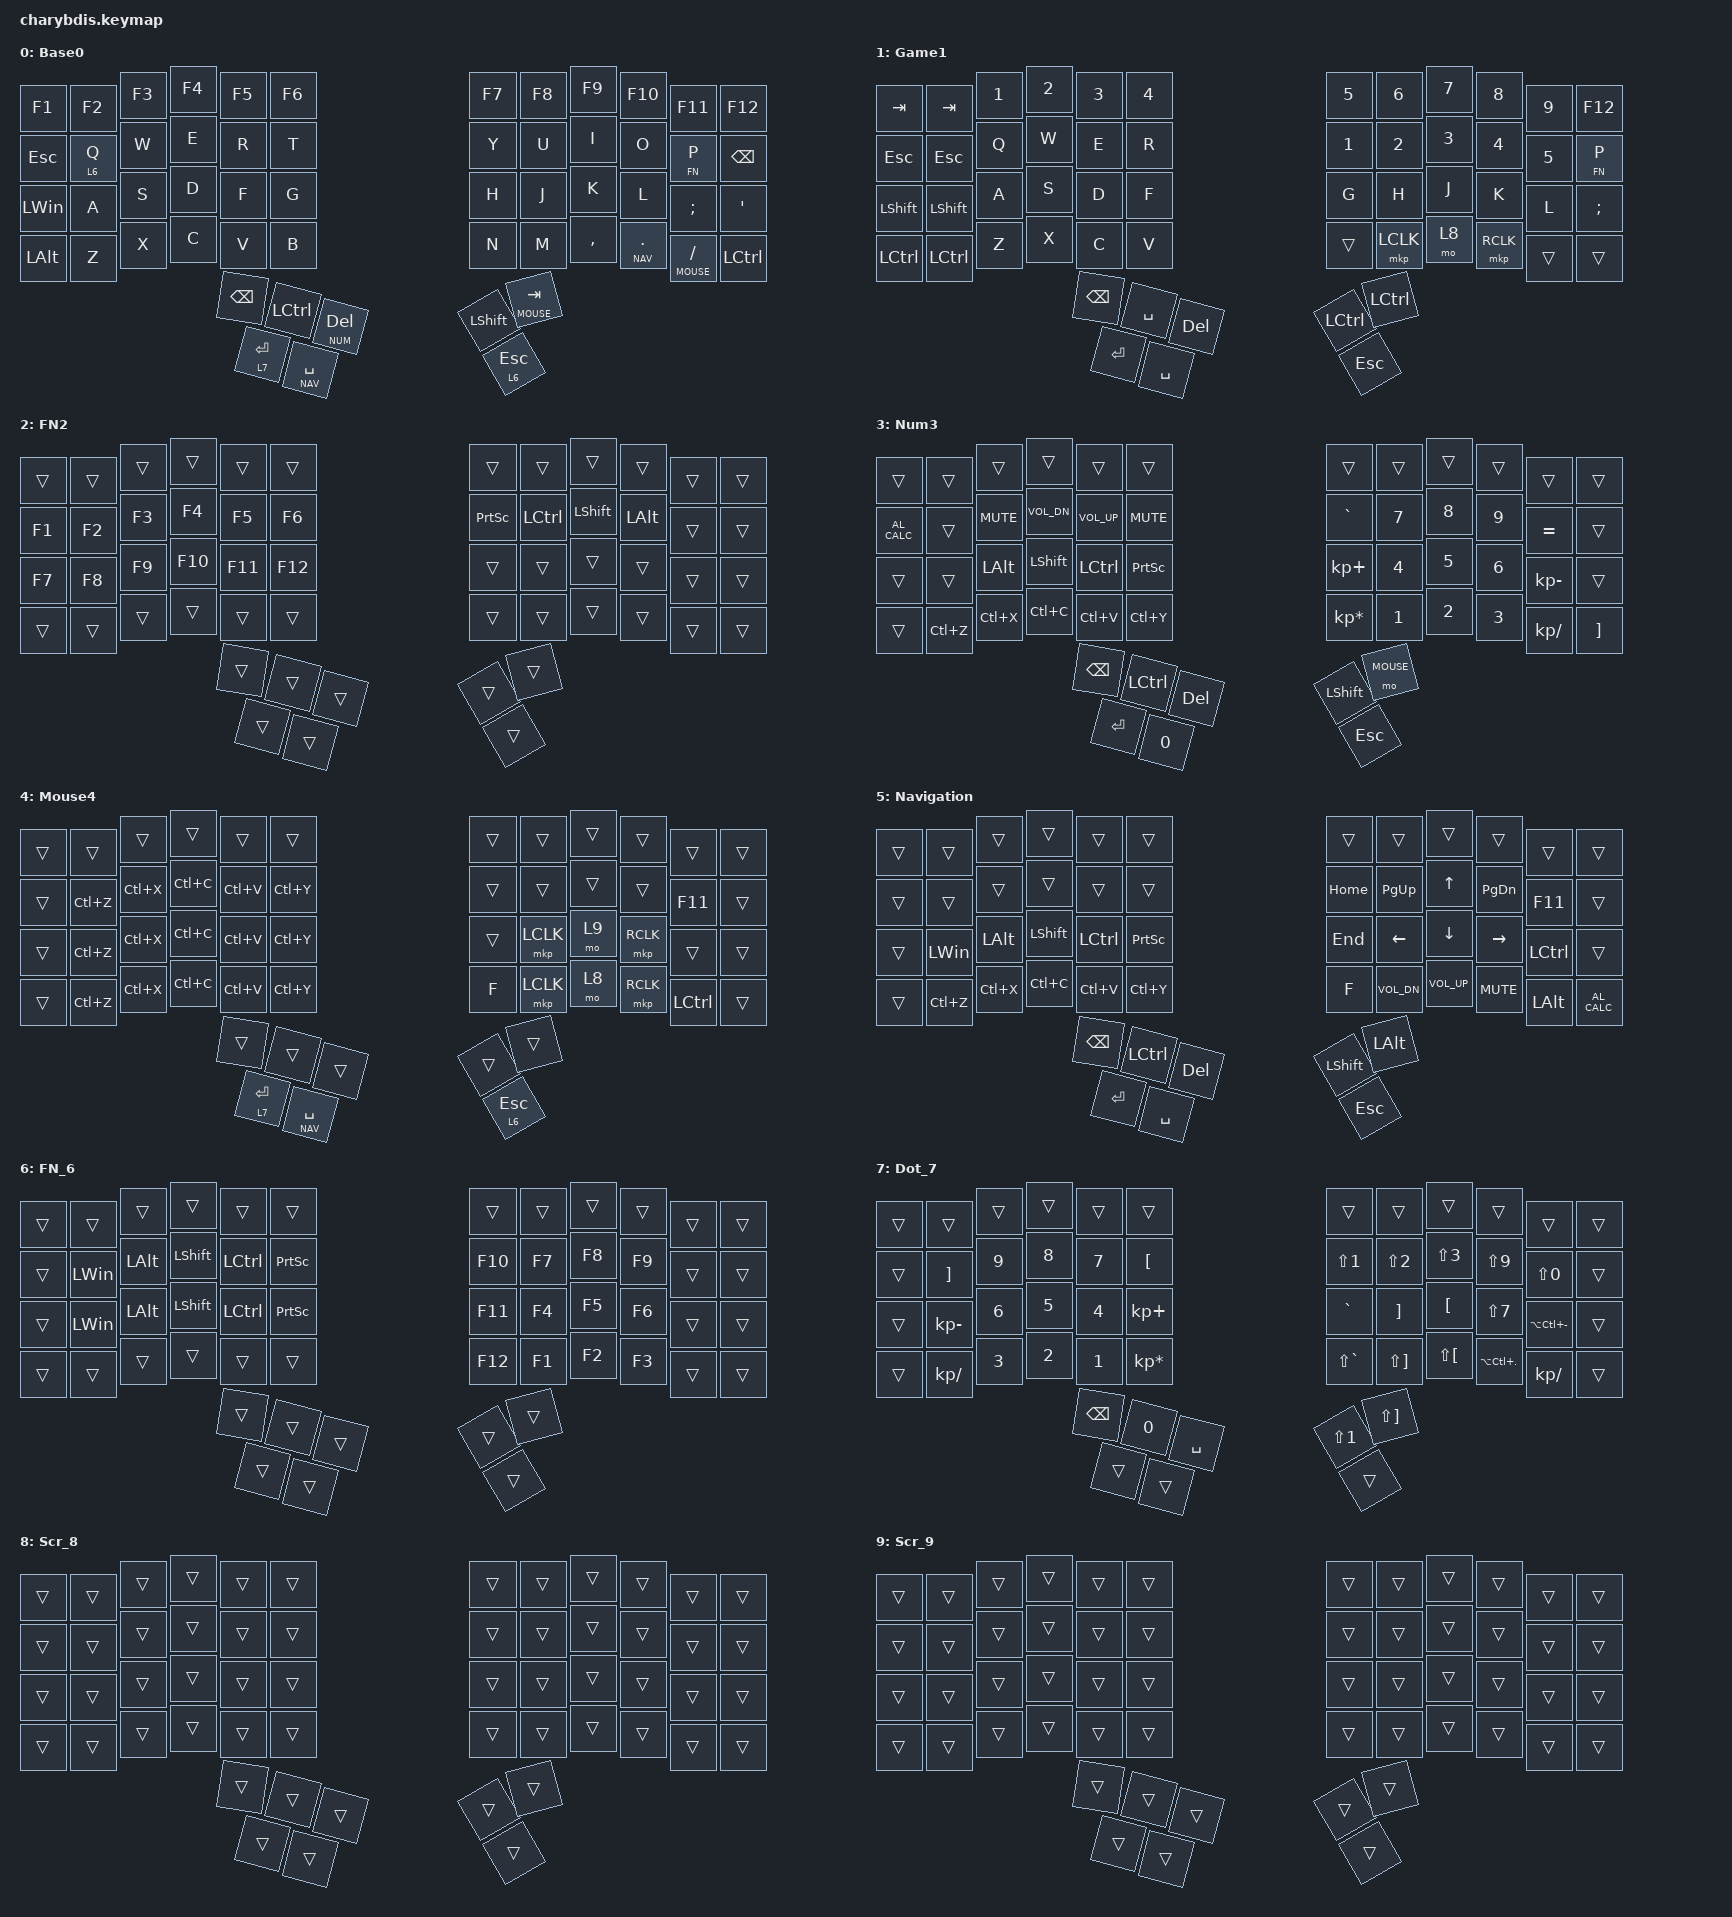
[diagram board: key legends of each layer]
#include <behaviors.dtsi> 
#include <dt-bindings/zmk/keys.h>
#include <dt-bindings/zmk/pointing.h>
 
#define GAME  1
#define FN    2
#define NUM   3
#define MOUSE 4
#define NAV   5

#define KEYS_L 0 1 2 3 4 10 11 12 13 14 20 21 22 23 24  
#define KEYS_R 5 6 7 8 9 15 16 17 18 19 25 26 27 28 29
#define THUMBS 30 31 32 33 34 35  

&sk {
  release-after-ms = <600>;
  quick-release;
};

&sl {
  ignore-modifiers;
};

&mt {
  flavor = "tap-preferred";
};

&lt {
  flavor = "balanced";
  tapping-term-ms = <200>;
  quick-tap-ms = <175>;
};

&caps_word {
  /delete-property/ ignore-modifiers;
};

/ {
  behaviors {
    hml: hml {
      compatible = "zmk,behavior-hold-tap";
      #binding-cells = <2>;
      flavor = "balanced";
      tapping-term-ms = <2000>;
      quick-tap-ms = <175>;
      require-prior-idle-ms = <250>;
      hold-trigger-key-positions = <KEYS_R THUMBS>;
      hold-trigger-on-release;
      bindings =
        <&kp>,
        <&kp>;
    };

    hmr: hmr {
      compatible = "zmk,behavior-hold-tap";
      #binding-cells = <2>;
      flavor = "balanced";
      tapping-term-ms = <2000>;
      quick-tap-ms = <175>;
      require-prior-idle-ms = <250>;
      hold-trigger-key-positions = <KEYS_L THUMBS>;
      hold-trigger-on-release;
      bindings =
        <&kp>,
        <&kp>;
    };
    hml_s: hml_s {
      compatible = "zmk,behavior-hold-tap";
      #binding-cells = <2>;
      flavor = "balanced";
      tapping-term-ms = <2000>;
      quick-tap-ms = <175>;
      require-prior-idle-ms = <0>;
      hold-trigger-key-positions = <KEYS_R THUMBS>;
      hold-trigger-on-release;
      bindings =
        <&kp>,
        <&kp>;
    };

    hmr_s: hmr_s {
      compatible = "zmk,behavior-hold-tap";
      #binding-cells = <2>;
      flavor = "balanced";
      tapping-term-ms = <2000>;
      quick-tap-ms = <175>;
      require-prior-idle-ms = <0>;
      hold-trigger-key-positions = <KEYS_L THUMBS>;
      hold-trigger-on-release;
      bindings =
        <&kp>,
        <&kp>;
    };


    smart_shift: smart_shift {
      compatible = "zmk,behavior-mod-morph";
      #binding-cells = <0>;
      bindings = <&sk LSHIFT>, <&caps_word>;
      mods = <(MOD_LSFT)>;
    };
  };

  combos {
    compatible = "zmk,combos";
    timeout-ms = <20>;
    require-prior-idle-ms = <250>;

    
    combo_esc {
      key-positions = <1 2>;
      bindings = <&kp ESCAPE>;
    };
    combo_tab {
      key-positions = <2 3>;
      bindings = <&kp TAB>;
    };
    combo_cdel {
      key-positions = <11 12>;
      bindings = <&kp LC(BACKSPACE)>;
    };
    combo_unlock {
      key-positions = <0 4>;
      bindings = <&studio_unlock>;
    };
        qote {
            bindings = <&kp GRAVE>;
            key-positions = <16 17>;
        };
        greatt {
            bindings = <&kp LC(LA(P))>;
            key-positions = <18 19>;
        };
        ParaLeft {
            bindings = <&kp LS(N9)>;
            key-positions = <40 41>;
            layers = <0>;
        };
        ParaRight {
            bindings = <&kp LS(N0)>;
            key-positions = <42 43>;
        };
        eng {
            bindings = <&kp F16>;
            key-positions = <28 29>;
            layers = <0>;
        };
        rus {
            bindings = <&kp F17>;
            key-positions = <30 31>;
        };

        bootloaderLeft {
            bindings = <&bootloader>;
            key-positions = <0 13>;
        };
        bootloaderRight {
            bindings = <&bootloader>;
            key-positions = <11 22>;
        };
        resetLeft {
            bindings = <&sys_reset>;
            key-positions = <0 12>;
        };
        resetRight {
            bindings = <&sys_reset>;
            key-positions = <11 23>;
        };
        // micelay {
        //     bindings = <&tog 4>;
        //     key-positions = <46 47>;
        // };
        // ScrollToggle {
        //     bindings = <&tog 4>;
        //     key-positions = <45 46>;
        // };
        // NumTog {
        //     bindings = <&tog 3>;
        //     key-positions = <21 22>;
        // };
        gomouse {
            bindings = <&tog 4>;
            key-positions = <51 55>;
        };
        game {
            bindings = <&tog 1>;
            key-positions = <34 47>;
        };
        game1 {
            bindings = <&tog 1>;
            key-positions = <36 25>;
        };
        GoNav {
            bindings = <&tog 5>;
            key-positions = <7 8 9>;
        };
        goscroll {
            bindings = <&tog 8>;
            key-positions = <52 55>;
        };
  };
  chosen {
    zmk,physical-layout = &charybdis_6col_layout;
  };

  keymap {
        compatible = "zmk,keymap";

        Base_0 {
            label = "Base0";
            bindings = <
            // ╭─────────────┬─────────────┬─────────────┬─────────────┬─────────────┬─────────────╮Bse╭─────────────┬─────────────┬─────────────┬─────────────┬─────────────┬─────────────╮
                    &kp F1        &kp F2        &kp F3        &kp F4        &kp F5        &kp F6            &kp F7        &kp F8        &kp F9       &kp F10       &kp F11       &kp F12
            // ├─────────────┼─────────────┼─────────────┼─────────────┼─────────────┼─────────────┤ 0 ├─────────────┼─────────────┼─────────────┼─────────────┼─────────────┼─────────────┤
                   &kp ESC       &lt 6 Q        &kp W         &kp E         &kp R         &kp T             &kp Y         &kp U         &kp I         &kp O        &lt FN P      &kp BSPC
            // ├─────────────┼─────────────┼─────────────┼─────────────┼─────────────┼─────────────┤   ├─────────────┼─────────────┼─────────────┼─────────────┼─────────────┼─────────────┤
                   &kp LWIN       &kp A         &kp S         &kp D         &kp F         &kp G             &kp H         &kp J         &kp K         &kp L        &kp SEMI      &kp APOS
            // ├─────────────┼─────────────┼─────────────┼─────────────┼─────────────┼─────────────┤   ├─────────────┼─────────────┼─────────────┼─────────────┼─────────────┼─────────────┤
                   &kp LALT       &kp Z         &kp X         &kp C         &kp V         &kp B             &kp N         &kp M       &kp COMMA    &lt NAV DOT  &lt MOUSE FSLH   &kp LCTRL  
            // ╰─────────────┴─────────────┴─────────────┼─────────────┼─────────────┼─────────────┤   ├─────────────┼─────────────┼─────────────┴─────────────┴─────────────┴─────────────╯
                                                             &kp BSPC     &kp LCTRL    &lt NUM DEL        &lt 7 RET   &lt NAV SPACE
            //                                           ╰─────────────┼─────────────┼─────────────┤ 0 ├─────────────┼─────────────╯
                                                                          &kp LSHFT   &lt MOUSE TAB       &lt 6 ESC
            //                                                         ╰─────────────┴─────────────╯Bse╰─────────────╯
            >;
        };

        Game_1 {
            label = "Game1";
            bindings = <
            // ╭─────────────┬─────────────┬─────────────┬─────────────┬─────────────┬─────────────╮Gam╭─────────────┬─────────────┬─────────────┬─────────────┬─────────────┬─────────────╮
                   &kp TAB       &kp TAB        &kp N1        &kp N2        &kp N3        &kp N4            &kp N5        &kp N6        &kp N7        &kp N8        &kp N9       &kp F12
            // ├─────────────┼─────────────┼─────────────┼─────────────┼─────────────┼─────────────┤ 1 ├─────────────┼─────────────┼─────────────┼─────────────┼─────────────┼─────────────┤
                   &kp ESC       &kp ESC        &kp Q         &kp W         &kp E         &kp R             &kp N1        &kp N2        &kp N3        &kp N4        &kp N5       &lt FN P
            // ├─────────────┼─────────────┼─────────────┼─────────────┼─────────────┼─────────────┤Gam├─────────────┼─────────────┼─────────────┼─────────────┼─────────────┼─────────────┤
                  &kp LSHFT     &kp LSHFT       &kp A         &kp S         &kp D         &kp F             &kp G         &kp H         &kp J         &kp K         &kp L        &kp SEMI
            // ├─────────────┼─────────────┼─────────────┼─────────────┼─────────────┼─────────────┤ 1 ├─────────────┼─────────────┼─────────────┼─────────────┼─────────────┼─────────────┤
                  &kp LCTRL     &kp LCTRL       &kp Z         &kp X         &kp C         &kp V             &trans      &mkp LCLK       &mo 8       &mkp RCLK       &trans        &trans
            // ╰─────────────┴─────────────┴─────────────┼─────────────┼─────────────┼─────────────┤Gam├─────────────┼─────────────┼─────────────┴─────────────┴─────────────┴─────────────╯
                                                             &kp BSPC     &kp SPACE      &kp DEL           &kp RET      &kp SPACE
            //                                           ╰─────────────┼─────────────┼─────────────┤ 1 ├─────────────┼─────────────╯
                                                                          &kp LCTRL     &kp LCTRL          &kp ESC        
            //                                                         ╰─────────────┴─────────────╯Gam╰─────────────╯
            >;
        };

        FN_2 {
            label = "FN2";
            bindings = <
            // ╭─────────────┬─────────────┬─────────────┬─────────────┬─────────────┬─────────────╮FFN╭─────────────┬─────────────┬─────────────┬─────────────┬─────────────┬─────────────╮
                    &trans        &trans        &trans        &trans        &trans        &trans            &trans        &trans        &trans        &trans        &trans        &trans
            // ├─────────────┼─────────────┼─────────────┼─────────────┼─────────────┼─────────────┤ 2 ├─────────────┼─────────────┼─────────────┼─────────────┼─────────────┼─────────────┤
                    &kp F1        &kp F2        &kp F3        &kp F4        &kp F5        &kp F6          &kp PSCRN     &kp LCTRL     &kp LSHFT      &kp LALT       &trans        &trans
            // ├─────────────┼─────────────┼─────────────┼─────────────┼─────────────┼─────────────┤   ├─────────────┼─────────────┼─────────────┼─────────────┼─────────────┼─────────────┤
                    &kp F7        &kp F8        &kp F9       &kp F10       &kp F11       &kp F12            &trans        &trans        &trans        &trans        &trans        &trans
            // ├─────────────┼─────────────┼─────────────┼─────────────┼─────────────┼─────────────┤ 2 ├─────────────┼─────────────┼─────────────┼─────────────┼─────────────┼─────────────┤
                    &trans        &trans        &trans        &trans        &trans        &trans            &trans        &trans        &trans        &trans        &trans        &trans
            // ╰─────────────┴─────────────┴─────────────┼─────────────┼─────────────┼─────────────┤   ├─────────────┼─────────────┼─────────────┴─────────────┴─────────────┴─────────────╯
                                                              &trans        &trans        &trans            &trans        &trans    
            //                                           ╰─────────────┼─────────────┼─────────────┤ 2 ├─────────────┼─────────────╯
                                                                            &trans        &trans            &trans
            //                                                         ╰─────────────┴─────────────╯FFN╰─────────────╯
            >;
        };

        Num_3 {
            label = "Num3";
            bindings = <
            // ╭─────────────┬─────────────┬─────────────┬─────────────┬─────────────┬─────────────╮Num╭─────────────┬─────────────┬─────────────┬─────────────┬─────────────┬─────────────╮
                    &trans        &trans        &trans        &trans        &trans        &trans            &trans        &trans        &trans        &trans        &trans        &trans
            // ├─────────────┼─────────────┼─────────────┼─────────────┼─────────────┼─────────────┤ 3 ├─────────────┼─────────────┼─────────────┼─────────────┼─────────────┼─────────────┤
                &kp C_AL_CALC     &trans      &kp C_MUTE   &kp C_VOL_DN  &kp C_VOL_UP   &kp C_MUTE        &kp GRAVE       &kp N7        &kp N8        &kp N9      &kp EQUAL       &trans
            // ├─────────────┼─────────────┼─────────────┼─────────────┼─────────────┼─────────────┤Num├─────────────┼─────────────┼─────────────┼─────────────┼─────────────┼─────────────┤
                    &trans        &trans       &kp LALT     &kp LSHFT     &kp LCTRL     &kp PSCRN        &kp KP_PLUS      &kp N4        &kp N5        &kp N6    &kp KP_MINUS      &trans
            // ├─────────────┼─────────────┼─────────────┼─────────────┼─────────────┼─────────────┤ 3 ├─────────────┼─────────────┼─────────────┼─────────────┼─────────────┼─────────────┤
                    &trans      &kp LC(Z)     &kp LC(X)     &kp LC(C)     &kp LC(V)     &kp LC(Y)      &kp KP_MULTIPLY    &kp N1        &kp N2        &kp N3    &kp KP_SLASH     &kp RBKT
            // ╰─────────────┴─────────────┴─────────────┼─────────────┼─────────────┼─────────────┤Num├─────────────┼─────────────┼─────────────┴─────────────┴─────────────┴─────────────╯
                                                             &kp BSPC     &kp LCTRL      &kp DEL           &kp RET       &kp N0
            //                                           ╰─────────────┼─────────────┼─────────────┤ 3 ├─────────────┼─────────────╯
                                                                          &kp LSHFT     &mo MOUSE          &kp ESC
            //                                                         ╰─────────────┴─────────────╯Num╰─────────────╯
            >;
        };

        Mouse_4 {
            label = "Mouse4";
            bindings = <
            // ╭─────────────┬─────────────┬─────────────┬─────────────┬─────────────┬─────────────╮Mse╭─────────────┬─────────────┬─────────────┬─────────────┬─────────────┬─────────────╮
                    &trans        &trans        &trans        &trans        &trans        &trans            &trans        &trans        &trans        &trans        &trans        &trans
            // ├─────────────┼─────────────┼─────────────┼─────────────┼─────────────┼─────────────┤ 4 ├─────────────┼─────────────┼─────────────┼─────────────┼─────────────┼─────────────┤
                    &trans      &kp LC(Z)     &kp LC(X)     &kp LC(C)     &kp LC(V)     &kp LC(Y)           &trans        &trans        &trans        &trans       &kp F11        &trans
            // ├─────────────┼─────────────┼─────────────┼─────────────┼─────────────┼─────────────┤Mse├─────────────┼─────────────┼─────────────┼─────────────┼─────────────┼─────────────┤
                    &trans      &kp LC(Z)     &kp LC(X)     &kp LC(C)     &kp LC(V)     &kp LC(Y)           &trans      &mkp LCLK       &mo 9       &mkp RCLK       &trans        &trans
            // ├─────────────┼─────────────┼─────────────┼─────────────┼─────────────┼─────────────┤ 4 ├─────────────┼─────────────┼─────────────┼─────────────┼─────────────┼─────────────┤
                    &trans      &kp LC(Z)     &kp LC(X)     &kp LC(C)     &kp LC(V)     &kp LC(Y)           &kp F       &mkp LCLK       &mo 8       &mkp RCLK     &kp LCTRL       &trans
            // ╰─────────────┴─────────────┴─────────────┼─────────────┼─────────────┼─────────────┤Mse├─────────────┼─────────────┼─────────────┴─────────────┴─────────────┴─────────────╯
                                                              &trans        &trans        &trans          &lt 7 RET   &lt NAV SPACE
            //                                           ╰─────────────┼─────────────┼─────────────┤ 4 ├─────────────┼─────────────╯
                                                                            &trans        &trans          &lt 6 ESC   
            //                                                         ╰─────────────┴─────────────╯Mse╰─────────────╯
            >;
        };

        Navigation_5 {
            label = "Navigation";
            bindings = <
            // ╭─────────────┬─────────────┬─────────────┬─────────────┬─────────────┬─────────────╮Nav╭─────────────┬─────────────┬─────────────┬─────────────┬─────────────┬─────────────╮
                    &trans        &trans        &trans        &trans        &trans        &trans            &trans        &trans        &trans        &trans        &trans        &trans
            // ├─────────────┼─────────────┼─────────────┼─────────────┼─────────────┼─────────────┤ 5 ├─────────────┼─────────────┼─────────────┼─────────────┼─────────────┼─────────────┤
                    &trans        &trans        &trans        &trans        &trans        &trans           &kp HOME      &kp PG_UP      &kp UP      &kp PG_DN      &kp F11        &trans
            // ├─────────────┼─────────────┼─────────────┼─────────────┼─────────────┼─────────────┤Nav├─────────────┼─────────────┼─────────────┼─────────────┼─────────────┼─────────────┤
                    &trans       &kp LWIN     &kp LALT      &kp LSHFT     &kp LCTRL     &kp PSCRN          &kp END       &kp LEFT      &kp DOWN     &kp RIGHT     &kp LCTRL       &trans
            // ├─────────────┼─────────────┼─────────────┼─────────────┼─────────────┼─────────────┤ 5 ├─────────────┼─────────────┼─────────────┼─────────────┼─────────────┼─────────────┤
                    &trans      &kp LC(Z)     &kp LC(X)     &kp LC(C)     &kp LC(V)     &kp LC(Y)           &kp F     &kp C_VOL_DN  &kp C_VOL_UP   &kp C_MUTE      &kp LALT   &kp C_AL_CALC
            // ╰─────────────┴─────────────┴─────────────┼─────────────┼─────────────┼─────────────┤Nav├─────────────┼─────────────┼─────────────┴─────────────┴─────────────┴─────────────╯
                                                             &kp BSPC     &kp LCTRL      &kp DEL           &kp RET      &kp SPACE 
            //                                           ╰─────────────┼─────────────┼─────────────┤ 5 ├─────────────┼─────────────╯
                                                                          &kp LSHFT      &kp LALT          &kp ESC   
            //                                                         ╰─────────────┴─────────────╯Nav╰─────────────╯
            >;
        };

        FN_6 {
            label = "FN_6";
            bindings = <
            // ╭─────────────┬─────────────┬─────────────┬─────────────┬─────────────┬─────────────╮Fx ╭─────────────┬─────────────┬─────────────┬─────────────┬─────────────┬─────────────╮
                    &trans        &trans        &trans        &trans        &trans        &trans            &trans        &trans        &trans        &trans        &trans        &trans
            // ├─────────────┼─────────────┼─────────────┼─────────────┼─────────────┼─────────────┤ 6 ├─────────────┼─────────────┼─────────────┼─────────────┼─────────────┼─────────────┤
                    &trans       &kp LWIN     &kp LALT      &kp LSHFT     &kp LCTRL     &kp PSCRN          &kp F10        &kp F7        &kp F8        &kp F9        &trans        &trans
            // ├─────────────┼─────────────┼─────────────┼─────────────┼─────────────┼─────────────┤Fx ├─────────────┼─────────────┼─────────────┼─────────────┼─────────────┼─────────────┤
                    &trans       &kp LWIN     &kp LALT      &kp LSHFT     &kp LCTRL     &kp PSCRN          &kp F11        &kp F4        &kp F5        &kp F6        &trans        &trans
            // ├─────────────┼─────────────┼─────────────┼─────────────┼─────────────┼─────────────┤ 6 ├─────────────┼─────────────┼─────────────┼─────────────┼─────────────┼─────────────┤
                    &trans        &trans        &trans        &trans        &trans        &trans           &kp F12        &kp F1        &kp F2        &kp F3        &trans        &trans
            // ╰─────────────┴─────────────┴─────────────┼─────────────┼─────────────┼─────────────┤Fx ├─────────────┼─────────────┼─────────────┴─────────────┴─────────────┴─────────────╯
                                                              &trans        &trans        &trans            &trans        &trans
            //                                           ╰─────────────┼─────────────┼─────────────┤ 6 ├─────────────┼─────────────╯
                                                                            &trans        &trans            &trans
            //                                                         ╰─────────────┴─────────────╯Fx ╰─────────────╯
            >;
        };

        Dot_7 {
            label = "Dot_7";
            bindings = <
            // ╭─────────────┬─────────────┬─────────────┬─────────────┬─────────────┬─────────────╮Dot╭─────────────┬─────────────┬─────────────┬─────────────┬─────────────┬─────────────╮
                    &trans        &trans        &trans        &trans        &trans        &trans            &trans        &trans        &trans        &trans        &trans        &trans
            // ├─────────────┼─────────────┼─────────────┼─────────────┼─────────────┼─────────────┤ 7 ├─────────────┼─────────────┼─────────────┼─────────────┼─────────────┼─────────────┤
                    &trans       &kp RBKT       &kp N9        &kp N8        &kp N7       &kp LBKT         &kp LS(N1)    &kp LS(N2)    &kp LS(N3)    &kp LS(N9)    &kp LS(N0)     &trans
            // ├─────────────┼─────────────┼─────────────┼─────────────┼─────────────┼─────────────┤ 7 ├─────────────┼─────────────┼─────────────┼─────────────┼─────────────┼─────────────┤
                    &trans     &kp KP_MINUS     &kp N6        &kp N5        &kp N4     &kp KP_PLUS        &kp GRAVE      &kp RBKT      &kp LBKT    &kp LS(N7) &kp LA(LC(MINUS))     &trans
            // ├─────────────┼─────────────┼─────────────┼─────────────┼─────────────┼─────────────┤ 7 ├─────────────┼─────────────┼─────────────┼─────────────┼─────────────┼─────────────┤
                    &trans     &kp KP_SLASH     &kp N3        &kp N2        &kp N1   &kp KP_MULTIPLY    &kp LS(GRAVE)  &kp LS(RBKT)  &kp LS(LBKT) &kp LA(LC(DOT)) &kp KP_SLASH    &trans
            // ╰─────────────┴─────────────┴─────────────┼─────────────┼─────────────┼─────────────┤ 7 ├─────────────┼─────────────┼─────────────┴─────────────┴─────────────┴─────────────╯
                                                             &kp BSPC       &kp N0      &kp SPACE           &trans        &trans
            //                                           ╰─────────────┼─────────────┼─────────────┤ 7 ├─────────────┼─────────────╯
                                                                          &kp LS(N1)   &kp LS(RBKT)         &trans
            //                                                         ╰─────────────┴─────────────╯Dot╰─────────────╯
            >;
        };

        Scr_8 {
            label = "Scr_8";
            bindings = <
            // ╭─────────────┬─────────────┬─────────────┬─────────────┬─────────────┬─────────────╮Scr╭─────────────┬─────────────┬─────────────┬─────────────┬─────────────┬─────────────╮
                    &trans        &trans        &trans        &trans        &trans        &trans            &trans        &trans        &trans        &trans        &trans        &trans
            // ├─────────────┼─────────────┼─────────────┼─────────────┼─────────────┼─────────────┤ 8 ├─────────────┼─────────────┼─────────────┼─────────────┼─────────────┼─────────────┤
                    &trans        &trans        &trans        &trans        &trans        &trans            &trans        &trans        &trans        &trans        &trans        &trans
            // ├─────────────┼─────────────┼─────────────┼─────────────┼─────────────┼─────────────┤Scr├─────────────┼─────────────┼─────────────┼─────────────┼─────────────┼─────────────┤
                    &trans        &trans        &trans        &trans        &trans        &trans            &trans        &trans        &trans        &trans        &trans        &trans
            // ├─────────────┼─────────────┼─────────────┼─────────────┼─────────────┼─────────────┤ 8 ├─────────────┼─────────────┼─────────────┼─────────────┼─────────────┼─────────────┤
                    &trans        &trans        &trans        &trans        &trans        &trans            &trans        &trans        &trans        &trans        &trans        &trans
            // ╰─────────────┴─────────────┴─────────────┼─────────────┼─────────────┼─────────────┤Scr├─────────────┼─────────────┼─────────────┴─────────────┴─────────────┴─────────────╯
                                                              &trans        &trans        &trans            &trans        &trans
            //                                           ╰─────────────┼─────────────┼─────────────┤ 8 ├─────────────┼─────────────╯
                                                                            &trans        &trans            &trans
            //                                                         ╰─────────────┴─────────────╯Scr╰─────────────╯
            >;
        };

        Scr_9 {
            label = "Scr_9";
            bindings = <
            // ╭─────────────┬─────────────┬─────────────┬─────────────┬─────────────┬─────────────╮Scr╭─────────────┬─────────────┬─────────────┬─────────────┬─────────────┬─────────────╮
                    &trans        &trans        &trans        &trans        &trans        &trans            &trans        &trans        &trans        &trans        &trans        &trans
            // ├─────────────┼─────────────┼─────────────┼─────────────┼─────────────┼─────────────┤ 9 ├─────────────┼─────────────┼─────────────┼─────────────┼─────────────┼─────────────┤
                    &trans        &trans        &trans        &trans        &trans        &trans            &trans        &trans        &trans        &trans        &trans        &trans
            // ├─────────────┼─────────────┼─────────────┼─────────────┼─────────────┼─────────────┤Scr├─────────────┼─────────────┼─────────────┼─────────────┼─────────────┼─────────────┤
                    &trans        &trans        &trans        &trans        &trans        &trans            &trans        &trans        &trans        &trans        &trans        &trans
            // ├─────────────┼─────────────┼─────────────┼─────────────┼─────────────┼─────────────┤ 9 ├─────────────┼─────────────┼─────────────┼─────────────┼─────────────┼─────────────┤
                    &trans        &trans        &trans        &trans        &trans        &trans            &trans        &trans        &trans        &trans        &trans        &trans
            // ╰─────────────┴─────────────┴─────────────┼─────────────┼─────────────┼─────────────┤Scr├─────────────┼─────────────┼─────────────┴─────────────┴─────────────┴─────────────╯
                                                              &trans        &trans        &trans            &trans        &trans
            //                                           ╰─────────────┼─────────────┼─────────────┤ 9 ├─────────────┼─────────────╯
                                                                            &trans        &trans            &trans
            //                                                         ╰─────────────┴─────────────╯Scr╰─────────────╯
            >;
        };
    };
};
